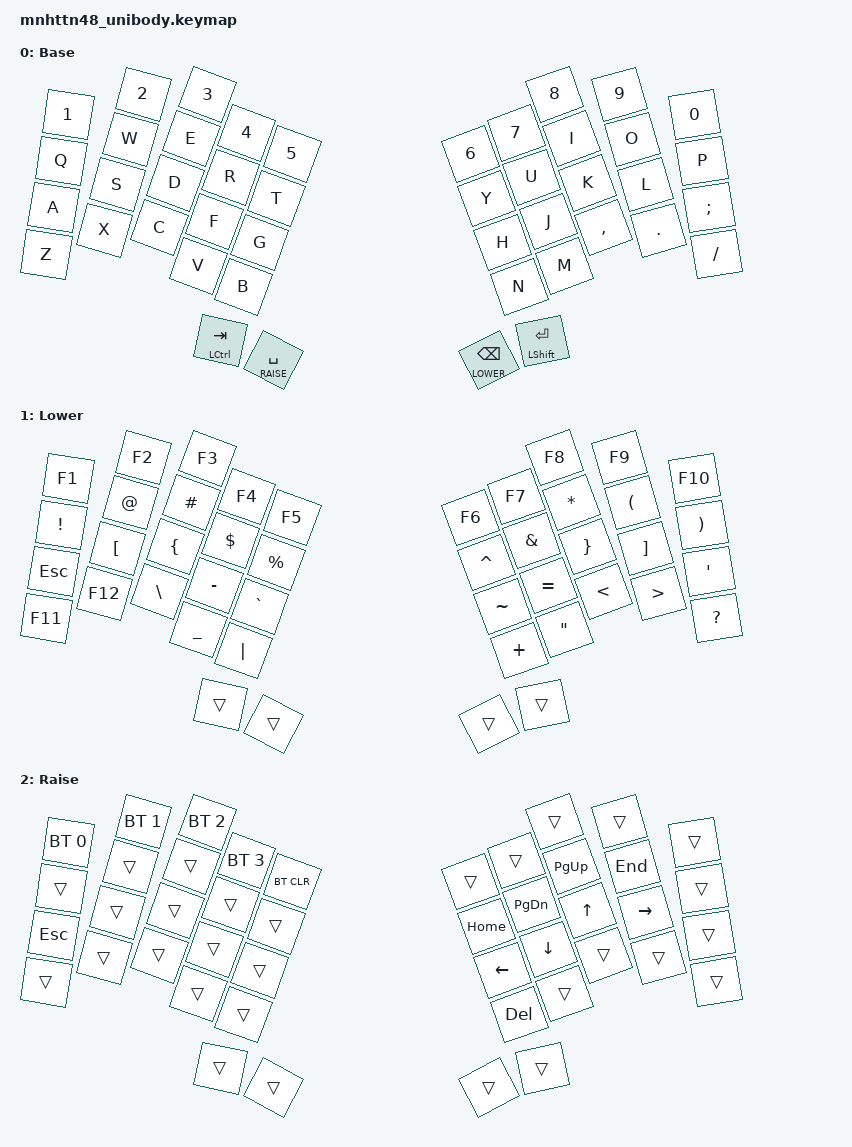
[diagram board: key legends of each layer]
/*
 * Example keymap for the mnhTTn48 unibody (44 keys): four rows of ten, four thumbs.
 * The real layout lives in the user's zmk-config; this one only shows the key order.
 */

#include <behaviors.dtsi>
#include <dt-bindings/zmk/keys.h>
#include <dt-bindings/zmk/bt.h>

#define BASE 0
#define LOWER 1
#define RAISE 2

/ {
    keymap {
        compatible = "zmk,keymap";

        base_layer {
            display-name = "Base";
            bindings = <
                &kp N1   &kp N2   &kp N3    &kp N4    &kp N5      &kp N6    &kp N7    &kp N8     &kp N9   &kp N0
                &kp Q    &kp W    &kp E     &kp R     &kp T       &kp Y     &kp U     &kp I      &kp O    &kp P
                &kp A    &kp S    &kp D     &kp F     &kp G       &kp H     &kp J     &kp K      &kp L    &kp SEMI
                &kp Z    &kp X    &kp C     &kp V     &kp B       &kp N     &kp M     &kp COMMA  &kp DOT  &kp FSLH
                                  &mt LCTRL TAB  &lt RAISE SPACE   &lt LOWER BSPC  &mt LSHFT RET
            >;
        };

        lower_layer {
            display-name = "Lower";
            bindings = <
                &kp F1   &kp F2   &kp F3    &kp F4    &kp F5      &kp F6    &kp F7    &kp F8     &kp F9   &kp F10
                &kp EXCL &kp AT   &kp HASH  &kp DLLR  &kp PRCNT   &kp CARET &kp AMPS  &kp STAR   &kp LPAR &kp RPAR
                &kp ESC  &kp LBKT &kp LBRC  &kp MINUS &kp GRAVE   &kp TILDE &kp EQUAL &kp RBRC   &kp RBKT &kp SQT
                &kp F11  &kp F12  &kp BSLH  &kp UNDER &kp PIPE    &kp PLUS  &kp DQT   &kp LT     &kp GT   &kp QMARK
                                  &trans         &trans            &trans          &trans
            >;
        };

        raise_layer {
            display-name = "Raise";
            bindings = <
                &bt BT_SEL 0 &bt BT_SEL 1 &bt BT_SEL 2 &bt BT_SEL 3 &bt BT_CLR   &trans   &trans    &trans    &trans    &trans
                &trans   &trans   &trans    &trans    &trans      &kp HOME  &kp PG_DN &kp PG_UP  &kp END  &trans
                &kp ESC  &trans   &trans    &trans    &trans      &kp LEFT  &kp DOWN  &kp UP     &kp RIGHT &trans
                &trans   &trans   &trans    &trans    &trans      &kp DEL   &trans    &trans     &trans   &trans
                                  &trans         &trans            &trans          &trans
            >;
        };
    };
};
